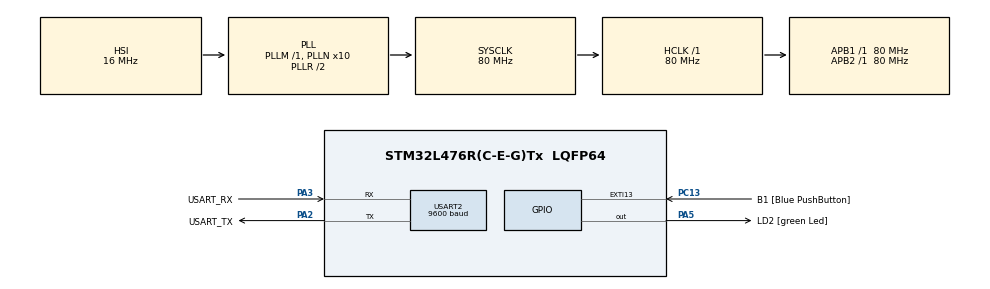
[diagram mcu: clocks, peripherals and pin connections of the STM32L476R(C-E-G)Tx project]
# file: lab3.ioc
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FREERTOS.Mutexes01=myMutex01,Dynamic,NULL
FREERTOS.Tasks01=myTask01,0,128,StartTask01,Default,NULL,Dynamic,NULL,NULL;myTask02,-3,128,StartTask02,Default,NULL,Dynamic,NULL,NULL;myTask03,-3,128,StartTask03,Default,NULL,Dynamic,NULL,NULL
FREERTOS.configUSE_NEWLIB_REENTRANT=1
Mcu.Family=STM32L4
Mcu.Name=STM32L476R(C-E-G)Tx
Mcu.Package=LQFP64
NVIC.PriorityGroup=NVIC_PRIORITYGROUP_4
NVIC.TIM1_UP_TIM16_IRQn=true\:15\:0\:false\:false\:true\:false\:false\:true\:true
NVIC.TimeBase=TIM1_UP_TIM16_IRQn
NVIC.TimeBaseIP=TIM1
PA13\ (JTMS-SWDIO).GPIO_Label=TMS
PA13\ (JTMS-SWDIO).Mode=Serial_Wire
PA13\ (JTMS-SWDIO).Signal=SYS_JTMS-SWDIO
PA14\ (JTCK-SWCLK).GPIO_Label=TCK
PA14\ (JTCK-SWCLK).Mode=Serial_Wire
PA14\ (JTCK-SWCLK).Signal=SYS_JTCK-SWCLK
PA2.GPIO_Label=USART_TX
PA2.GPIO_Mode=GPIO_MODE_AF_PP
PA2.GPIO_PuPd=GPIO_NOPULL
PA2.GPIO_Speed=GPIO_SPEED_FREQ_VERY_HIGH
PA2.Mode=Asynchronous
PA2.Signal=USART2_TX
PA3.GPIO_Label=USART_RX
PA3.GPIO_Mode=GPIO_MODE_AF_PP
PA3.GPIO_PuPd=GPIO_NOPULL
PA3.GPIO_Speed=GPIO_SPEED_FREQ_VERY_HIGH
PA3.Mode=Asynchronous
PA3.Signal=USART2_RX
PA5.GPIO_Label=LD2 [green Led]
PA5.GPIO_ModeDefaultOutputPP=GPIO_MODE_OUTPUT_PP
PA5.GPIO_PuPd=GPIO_NOPULL
PA5.GPIO_Speed=GPIO_SPEED_FREQ_LOW
PA5.Signal=GPIO_Output
PB3\ (JTDO-TRACESWO).GPIO_Label=SWO
PB3\ (JTDO-TRACESWO).Signal=SYS_JTDO-SWO
PC13.GPIO_Label=B1 [Blue PushButton]
PC13.GPIO_ModeDefaultEXTI=GPIO_MODE_IT_FALLING
PC13.GPIO_PuPd=GPIO_NOPULL
PC13.Signal=GPXTI13
PC14-OSC32_IN\ (PC14).Mode=LSE-External-Oscillator
PC14-OSC32_IN\ (PC14).Signal=RCC_OSC32_IN
PC15-OSC32_OUT\ (PC15).Mode=LSE-External-Oscillator
PC15-OSC32_OUT\ (PC15).Signal=RCC_OSC32_OUT
PH0-OSC_IN\ (PH0).Signal=RCC_OSC_IN
PH1-OSC_OUT\ (PH1).Signal=RCC_OSC_OUT
ProjectManager.HeapSize=0x200
ProjectManager.StackSize=0x400
ProjectManager.TargetToolchain=STM32CubeIDE
RCC.ADCFreq_Value=64000000
RCC.AHBFreq_Value=80000000
RCC.APB1Freq_Value=80000000
RCC.APB1TimFreq_Value=80000000
RCC.APB2Freq_Value=80000000
RCC.APB2TimFreq_Value=80000000
RCC.CortexFreq_Value=80000000
RCC.HCLKFreq_Value=80000000
RCC.HSE_VALUE=8000000
RCC.HSI_VALUE=16000000
RCC.MSI_VALUE=4000000
RCC.PLLN=10
RCC.PLLSourceVirtual=RCC_PLLSOURCE_HSI
RCC.PREFETCH_ENABLE=1
RCC.SYSCLKFreq_VALUE=80000000
RCC.SYSCLKSource=RCC_SYSCLKSOURCE_PLLCLK
RCC.USBFreq_Value=64000000
RCC.VCOOutputFreq_Value=160000000
USART2.BaudRate=9600
USART2.VirtualMode-Asynchronous=VM_ASYNC
VP_FREERTOS_VS_CMSIS_V1.Mode=CMSIS_V1
VP_SYS_VS_tim1.Mode=TIM1
board=NUCLEO-L476RG

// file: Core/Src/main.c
/* USER CODE BEGIN Header */
/**
  ******************************************************************************
  * @file           : main.c
  * @brief          : Main program body
  ******************************************************************************
  * @attention
  *
  * Copyright (c) 2025 STMicroelectronics.
  * All rights reserved.
  *
  * This software is licensed under terms that can be found in the LICENSE file
  * in the root directory of this software component.
  * If no LICENSE file comes with this software, it is provided AS-IS.
  *
  ******************************************************************************
  */
/* USER CODE END Header */
#include "main.h"
#include "cmsis_os.h"

UART_HandleTypeDef huart2;

osThreadId myTask01Handle;
osThreadId myTask02Handle;
osThreadId myTask03Handle;
osMutexId myMutex01Handle;
/* USER CODE BEGIN PV */
	uint8_t buffer[100];
	const int write_size = 60;
	UART_HandleTypeDef * uart_ptr;
/* USER CODE END PV */

void SystemClock_Config(void);
static void MX_GPIO_Init(void);
static void MX_USART2_UART_Init(void);
void StartTask01(void const * argument);
void StartTask02(void const * argument);
void StartTask03(void const * argument);

int main(void)
{

  /* MCU Configuration--------------------------------------------------------*/

  /* Reset of all peripherals, Initializes the Flash interface and the Systick. */
  HAL_Init();

  /* Configure the system clock */
  SystemClock_Config();

  /* Initialize all configured peripherals */
  MX_GPIO_Init();
  MX_USART2_UART_Init();
  /* USER CODE BEGIN 2 */

  buffer [write_size -2] = '\r';
  buffer [write_size -1] = '\n';
  uart_ptr = &huart2;

  /* USER CODE END 2 */

  /* Create the mutex(es) */
  /* definition and creation of myMutex01 */
  osMutexDef(myMutex01);
  myMutex01Handle = osMutexCreate(osMutex(myMutex01));

  /* Create the thread(s) */
  /* definition and creation of myTask01 */
  osThreadDef(myTask01, StartTask01, osPriorityNormal, 0, 128);
  myTask01Handle = osThreadCreate(osThread(myTask01), NULL);

  /* definition and creation of myTask02 */
  osThreadDef(myTask02, StartTask02, osPriorityIdle, 0, 128);
  myTask02Handle = osThreadCreate(osThread(myTask02), NULL);

  /* definition and creation of myTask03 */
  osThreadDef(myTask03, StartTask03, osPriorityIdle, 0, 128);
  myTask03Handle = osThreadCreate(osThread(myTask03), NULL);

  /* Start scheduler */
  osKernelStart();

  /* We should never get here as control is now taken by the scheduler */

  /* Infinite loop */
  while (1)
  {

  }
}

void SystemClock_Config(void)
{
  RCC_OscInitTypeDef RCC_OscInitStruct = {0};
  RCC_ClkInitTypeDef RCC_ClkInitStruct = {0};

  /** Configure the main internal regulator output voltage
  */
  if (HAL_PWREx_ControlVoltageScaling(PWR_REGULATOR_VOLTAGE_SCALE1) != HAL_OK)
  {
    Error_Handler();
  }

  /** Initializes the RCC Oscillators according to the specified parameters
  * in the RCC_OscInitTypeDef structure.
  */
  RCC_OscInitStruct.OscillatorType = RCC_OSCILLATORTYPE_HSI;
  RCC_OscInitStruct.HSIState = RCC_HSI_ON;
  RCC_OscInitStruct.HSICalibrationValue = RCC_HSICALIBRATION_DEFAULT;
  RCC_OscInitStruct.PLL.PLLState = RCC_PLL_ON;
  RCC_OscInitStruct.PLL.PLLSource = RCC_PLLSOURCE_HSI;
  RCC_OscInitStruct.PLL.PLLM = 1;
  RCC_OscInitStruct.PLL.PLLN = 10;
  RCC_OscInitStruct.PLL.PLLP = RCC_PLLP_DIV7;
  RCC_OscInitStruct.PLL.PLLQ = RCC_PLLQ_DIV2;
  RCC_OscInitStruct.PLL.PLLR = RCC_PLLR_DIV2;
  if (HAL_RCC_OscConfig(&RCC_OscInitStruct) != HAL_OK)
  {
    Error_Handler();
  }

  /** Initializes the CPU, AHB and APB buses clocks
  */
  RCC_ClkInitStruct.ClockType = RCC_CLOCKTYPE_HCLK|RCC_CLOCKTYPE_SYSCLK
                              |RCC_CLOCKTYPE_PCLK1|RCC_CLOCKTYPE_PCLK2;
  RCC_ClkInitStruct.SYSCLKSource = RCC_SYSCLKSOURCE_PLLCLK;
  RCC_ClkInitStruct.AHBCLKDivider = RCC_SYSCLK_DIV1;
  RCC_ClkInitStruct.APB1CLKDivider = RCC_HCLK_DIV1;
  RCC_ClkInitStruct.APB2CLKDivider = RCC_HCLK_DIV1;

  if (HAL_RCC_ClockConfig(&RCC_ClkInitStruct, FLASH_LATENCY_4) != HAL_OK)
  {
    Error_Handler();
  }
}

static void MX_USART2_UART_Init(void)
{

  huart2.Instance = USART2;
  huart2.Init.BaudRate = 9600;
  huart2.Init.WordLength = UART_WORDLENGTH_8B;
  huart2.Init.StopBits = UART_STOPBITS_1;
  huart2.Init.Parity = UART_PARITY_NONE;
  huart2.Init.Mode = UART_MODE_TX_RX;
  huart2.Init.HwFlowCtl = UART_HWCONTROL_NONE;
  huart2.Init.OverSampling = UART_OVERSAMPLING_16;
  huart2.Init.OneBitSampling = UART_ONE_BIT_SAMPLE_DISABLE;
  huart2.AdvancedInit.AdvFeatureInit = UART_ADVFEATURE_NO_INIT;
  if (HAL_UART_Init(&huart2) != HAL_OK)
  {
    Error_Handler();
  }

}

static void MX_GPIO_Init(void)
{
  GPIO_InitTypeDef GPIO_InitStruct = {0};

  /* GPIO Ports Clock Enable */
  __HAL_RCC_GPIOC_CLK_ENABLE();
  __HAL_RCC_GPIOH_CLK_ENABLE();
  __HAL_RCC_GPIOA_CLK_ENABLE();
  __HAL_RCC_GPIOB_CLK_ENABLE();

  /*Configure GPIO pin Output Level */
  HAL_GPIO_WritePin(LD2_GPIO_Port, LD2_Pin, GPIO_PIN_RESET);

  /*Configure GPIO pin : B1_Pin */
  GPIO_InitStruct.Pin = B1_Pin;
  GPIO_InitStruct.Mode = GPIO_MODE_IT_FALLING;
  GPIO_InitStruct.Pull = GPIO_NOPULL;
  HAL_GPIO_Init(B1_GPIO_Port, &GPIO_InitStruct);

  /*Configure GPIO pin : LD2_Pin */
  GPIO_InitStruct.Pin = LD2_Pin;
  GPIO_InitStruct.Mode = GPIO_MODE_OUTPUT_PP;
  GPIO_InitStruct.Pull = GPIO_NOPULL;
  GPIO_InitStruct.Speed = GPIO_SPEED_FREQ_LOW;
  HAL_GPIO_Init(LD2_GPIO_Port, &GPIO_InitStruct);

}

void StartTask01(void const * argument)
{
  /* USER CODE BEGIN 5 */
  /* Infinite loop */
  for(;;)
  {
	osMutexWait(myMutex01Handle, osWaitForever);
    for (int i = 0; i< write_size -2; i++){
    	buffer[i] = '1';
    }
    int j = 0;
    while (j < write_size){
    	if(uart_ptr->gState == HAL_UART_STATE_READY){
    		uart_ptr->ErrorCode = HAL_UART_ERROR_NONE;
    		uart_ptr->gState = HAL_UART_STATE_BUSY_TX;
    		uart_ptr->TxXferSize = 1;
    		uart_ptr->TxXferCount = 1;
    		uart_ptr->Instance->TDR = (uint16_t)(buffer[j]);
    		osDelay(2);
    		uart_ptr->gState=HAL_UART_STATE_READY;
    		j++;
    	}
    }
    osMutexRelease(myMutex01Handle);
    osDelay(1000);
  }
  /* USER CODE END 5 */
}

void StartTask02(void const * argument)
{
  /* USER CODE BEGIN StartTask02 */
  /* Infinite loop */

  for(;;)
  {
	  osMutexWait(myMutex01Handle, osWaitForever);
	  for (int i = 0; i< write_size -2; i++){
	      	buffer[i] = '2';
	      }
	      int j = 0;
	      while (j < write_size){
	      	if(uart_ptr->gState == HAL_UART_STATE_READY){
	      		uart_ptr->ErrorCode = HAL_UART_ERROR_NONE;
	      		uart_ptr->gState = HAL_UART_STATE_BUSY_TX;
	      		uart_ptr->TxXferSize = 1;
	      		uart_ptr->TxXferCount = 1;
	      		uart_ptr->Instance->TDR = (uint16_t)(buffer[j]);
	      		osDelay(2);
	      		uart_ptr->gState=HAL_UART_STATE_READY;
	      		j++;
	      	}
	      }
	      osMutexRelease(myMutex01Handle);
	      osDelay(100);
	    }

  /* USER CODE END StartTask02 */
}

void StartTask03(void const * argument)
{
  /* USER CODE BEGIN StartTask03 */
  /* Infinite loop */

  for(;;)
  {
	  osMutexWait(myMutex01Handle, osWaitForever);
	  for (int i = 0; i< write_size -2; i++){
	      	buffer[i] = '3';
	      }
	      int j = 0;
	      while (j < write_size){
	      	if(uart_ptr->gState == HAL_UART_STATE_READY){
	      		uart_ptr->ErrorCode = HAL_UART_ERROR_NONE;
	      		uart_ptr->gState = HAL_UART_STATE_BUSY_TX;
	      		uart_ptr->TxXferSize = 1;
	      		uart_ptr->TxXferCount = 1;
	      		uart_ptr->Instance->TDR = (uint16_t)(buffer[j]);
	      		osDelay(2);
	      		uart_ptr->gState=HAL_UART_STATE_READY;
	      		j++;
	      	}
	      }
	      osMutexRelease(myMutex01Handle);
	      osDelay(200);
	    }

  /* USER CODE END StartTask03 */
}

void HAL_TIM_PeriodElapsedCallback(TIM_HandleTypeDef *htim)
{
  if (htim->Instance == TIM1) {
    HAL_IncTick();
  }
}

void Error_Handler(void)
{
  __disable_irq();
  while (1)
  {
  }
}
